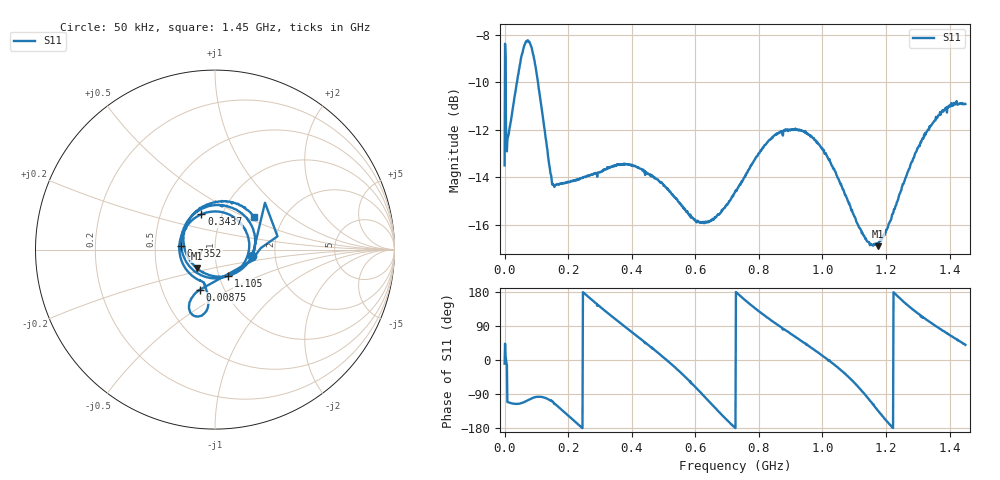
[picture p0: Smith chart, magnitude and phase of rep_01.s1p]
! Created with skrf 1.11.0 (http://scikit-rf.org).
# Hz S RI R 50.0
!freq ReS11 ImS11
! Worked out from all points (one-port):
!   1001 points, 50 kHz to 1.45 GHz, reference 50 ohm
!   lowest |S11| = -16.9 dB at 1.175 GHz (marker M1), VSWR 1.33, Z = 40.2 - j8.49 ohm
!   |S11| at or under -10 dB: start of sweep to 1.039 MHz; 3.466 MHz to 38.96 MHz (35.5 MHz wide, 167 % of centre); 105.3 MHz to end of sweep
!   S11 on the Smith chart (normalised r, x): 50 kHz: 1.52, -0.11; 8.75 MHz: 0.77, -0.36; 343.7 MHz: 0.80, +0.33; 735.2 MHz: 0.68, +0.03; 1.105 GHz: 1.10, -0.33; 1.45 GHz: 1.43, +0.57
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50000  0.2082 -0.0356
8749700  -0.0847 -0.2237
1.599945e7  -0.0994 -0.2336
4.93483e7  -0.1445 -0.3158
7.54474e7  -0.1016 -0.3721
1.058964e8  -0.0384 -0.3114
1.493948e8  -0.064 -0.1826
1.812938e8  -0.131 -0.1422
2.581411e8  -0.1979 0.0329
3.436882e8  -0.0754 0.1971
3.625375e8  -0.0311 0.2093
4.103858e8  0.0824 0.194
4.62584e8  0.1675 0.1124
5.437812e8  0.1619 -0.0759
6.336782e8  -0.0303 -0.1579
7.25025e8  -0.1858 -0.00363
7.351746e8  -0.1888 0.0201
7.801231e8  -0.1676 0.1324
8.308714e8  -0.0797 0.2245
9.062688e8  0.1023 0.2297
9.976156e8  0.2237 0.051
1.087512e9  0.114 -0.1307
1.104912e9  0.0724 -0.1458
1.17451e9  -0.0983 -0.1034
1.223808e9  -0.1685 0.0035
1.268756e9  -0.1665 0.1193
1.363003e9  0.0176 0.2672
1.45e9  0.2186 0.1825
